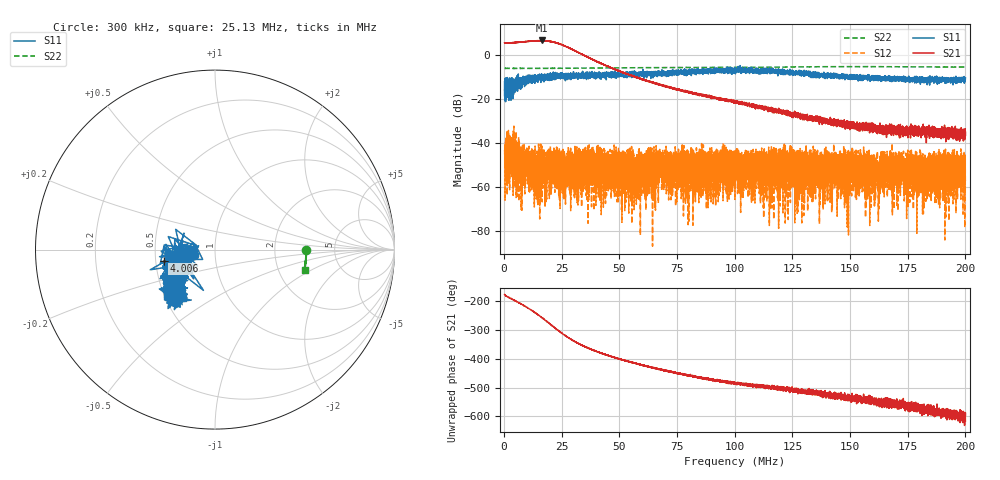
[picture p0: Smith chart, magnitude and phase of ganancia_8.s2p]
# Hz S DB R 50
! CMT, M5065, 19127446, 24.2.4/2
! Date: 11/8/2024 4:52:34 PM
! Data: Format (Calibration Info)
! Freq	S11:dB/Ang(F2)	S21:dB/Ang(F2)	S12:dB/Ang(F2)	S22:dB/Ang(F2)
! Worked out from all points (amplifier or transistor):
!   9000 points, 300 kHz to 200 MHz, reference 50 ohm
!   highest |S21| = 6.8 dB at 16.32 MHz (marker M1)
!   |S21| within 3 dB of that: start of sweep to 27.3 MHz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
!   unconditionally stable (mu >= 1): start of sweep to end of sweep
!   at 33.59 MHz: K = 279.49, MAG = 2.5 dB, |S12| = -59.4 dB
!   at 100.2 MHz: K = 827.02, MAG = -18.3 dB, |S12| = -48.5 dB
!   at 200 MHz: K = 10980.36, MAG = -32.8 dB, |S12| = -56.0 dB
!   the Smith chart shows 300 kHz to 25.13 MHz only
!   S11 on the Smith chart (normalised r, x): 300 kHz: 0.79, -0.05; 4.006 MHz: 0.55, -0.08; 25.13 MHz: 0.62, -0.37
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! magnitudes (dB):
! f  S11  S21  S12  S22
! 300 kHz  -18.3  5.7  -43.3  -5.9
! 4.006 MHz  -10.6  5.8  -34.5  -5.8
! 8.178 MHz  -10.7  6.2  -42.4  -5.8
! 16.32 MHz  -8.3  6.8  -51.5  -5.9
! 25.13 MHz  -9.9  4.9  -50.1  -5.8
! 33.59 MHz  -9.3  0.7  -59.4  -5.8
! 48.26 MHz  -8.3  -6.3  -47.4  -5.7
! 56.4 MHz  -8.4  -9.6  -54.9  -5.6
! 60.35 MHz  -8.4  -11.0  -48.9  -5.6
! 64.74 MHz  -7.7  -12.4  -55.1  -5.5
! 66.87 MHz  -8.3  -13.1  -54.6  -5.5
! 71.89 MHz  -9.0  -14.5  -50.4  -5.5
! 100.2 MHz  -7.1  -20.7  -48.5  -5.4
! 103.4 MHz  -6.6  -21.4  -50.1  -5.4
! 110.7 MHz  -6.5  -24.0  -43.7  -5.4
! 115.8 MHz  -7.3  -24.9  -52.0  -5.3
! 117.3 MHz  -7.4  -25.3  -49.5  -5.3
! 133.4 MHz  -8.0  -28.3  -53.4  -5.2
! 150.4 MHz  -8.8  -32.2  -47.9  -5.1
! 161.6 MHz  -10.1  -32.3  -53.0  -5.1
! 166.7 MHz  -10.5  -33.6  -56.1  -5.1
! 200 MHz  -10.2  -34.8  -56.0  -5.3
